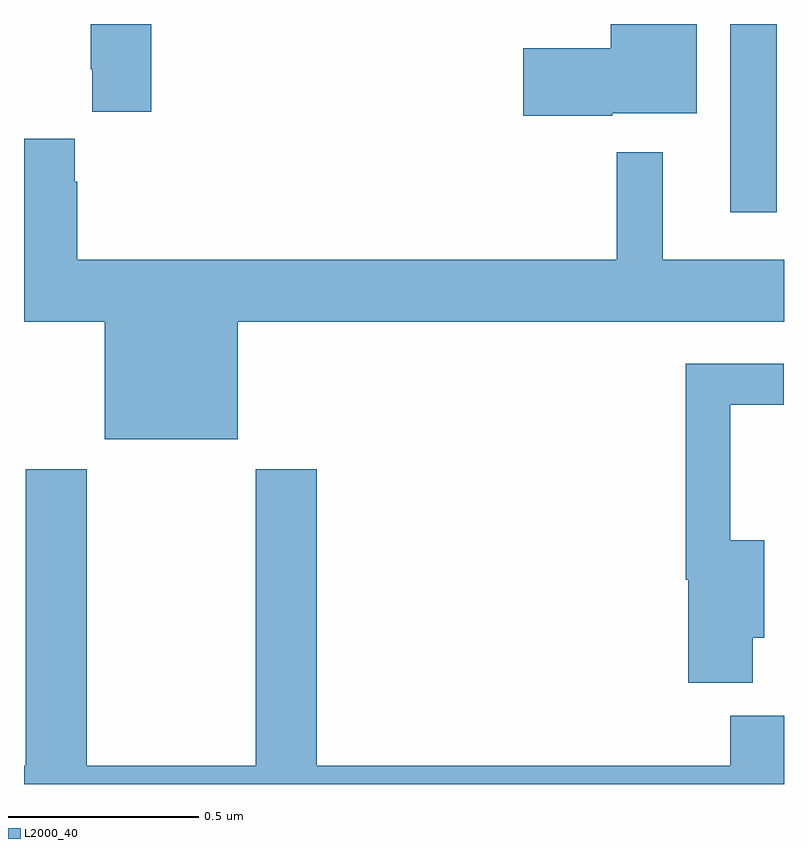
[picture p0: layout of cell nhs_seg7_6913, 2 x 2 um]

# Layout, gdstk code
import gdstk
lib = gdstk.Library(unit=1e-6, precision=1e-09)
def R(c, l, rs):  # rectangles x0, y0, x1, y1
    for r in rs: c.add(gdstk.rectangle(r[:2], r[2:], *l))
def P(c, l, *ps):  # polygons
    for p in ps: c.add(gdstk.Polygon(p, *l))
L2000_40 = (2000, 40)

nhs_seg7_6913 = lib.new_cell('nhs_seg7_6913')
R(nhs_seg7_6913, L2000_40, [(205.859,1067.505,205.981,1068)])
P(nhs_seg7_6913, L2000_40, [(204.335,1068),(204.175,1068),(204.175,1067.881),(204.179,1067.881),(204.179,1067.769),(204.335,1067.769)],
  [(205.548,1067.765),(205.771,1067.765),(205.771,1068),(205.544,1068),(205.544,1067.936),(205.314,1067.936),(205.314,1067.758),(205.548,1067.758)],
  [(204.562,1067.216),(206,1067.216),(206,1067.38),(205.681,1067.38),(205.681,1067.662),(205.56,1067.662),(205.56,1067.38),(204.14,1067.38),(204.14,1067.585),(204.133,1067.585),(204.133,1067.698),(204,1067.698),(204,1067.216),(204.212,1067.216),(204.212,1066.907),(204.562,1066.907)],
  [(205.918,1066.385),(205.948,1066.385),(205.948,1066.642),(205.859,1066.642),(205.859,1066.998),(205.999,1066.998),(205.999,1067.106),(205.741,1067.106),(205.741,1066.538),(205.748,1066.538),(205.748,1066.266),(205.918,1066.266)],
  [(206,1066.18),(205.859,1066.18),(205.859,1066.048),(204.77,1066.048),(204.77,1066.828),(204.61,1066.828),(204.61,1066.048),(204.165,1066.048),(204.165,1066.828),(204.005,1066.828),(204.005,1066.048),(204,1066.048),(204,1066),(206,1066)])

lib.write_gds('nhs_seg7_6913.gds')
